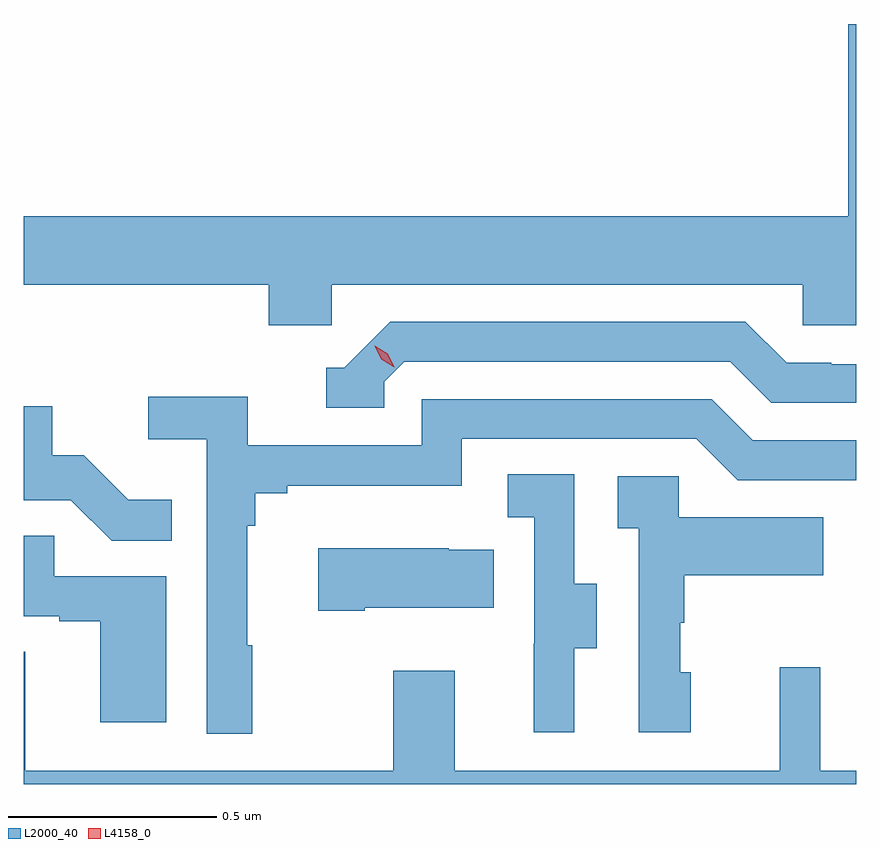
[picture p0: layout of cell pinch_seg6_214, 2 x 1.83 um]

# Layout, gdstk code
import gdstk
lib = gdstk.Library(unit=1e-6, precision=1e-09)
def P(c, l, *ps):  # polygons
    for p in ps: c.add(gdstk.Polygon(p, *l))
L2000_40 = (2000, 40)
L4158_0 = (4158, 0)

pinch_seg6_214 = lib.new_cell('pinch_seg6_214')
P(pinch_seg6_214, L2000_40, [(1026.15,916.7),(1027.281,916.7),(1027.281,916.602),(1027.41,916.602),(1027.41,917.326),(1027.391,917.326),(1027.391,916.864),(1025.41,916.864),(1025.41,916.7),(1025.999,916.7),(1025.999,916.602),(1026.15,916.602)],
  [(1026.276,916.467),(1026.324,916.515),(1027.107,916.515),(1027.206,916.416),(1027.41,916.416),(1027.41,916.509),(1027.35,916.509),(1027.35,916.512),(1027.243,916.512),(1027.144,916.611),(1026.291,916.611),(1026.18,916.5),(1026.137,916.5),(1026.137,916.404),(1026.276,916.404)],
  [(1025.959,915.833),(1025.947,915.833),(1025.947,916.121),(1025.966,916.121),(1025.966,916.198),(1026.043,916.198),(1026.043,916.217),(1026.462,916.217),(1026.462,916.329),(1027.026,916.329),(1027.125,916.23),(1027.41,916.23),(1027.41,916.326),(1027.162,916.326),(1027.063,916.425),(1026.366,916.425),(1026.366,916.314),(1025.948,916.314),(1025.948,916.43),(1025.709,916.43),(1025.709,916.328),(1025.85,916.328),(1025.85,915.621),(1025.959,915.621)],
  [(1025.765,916.183),(1025.661,916.183),(1025.554,916.29),(1025.478,916.29),(1025.478,916.407),(1025.41,916.407),(1025.41,916.182),(1025.523,916.182),(1025.621,916.084),(1025.765,916.084)],
  [(1026.733,915.826),(1026.787,915.826),(1026.787,915.981),(1026.732,915.981),(1026.732,916.244),(1026.573,916.244),(1026.573,916.141),(1026.636,916.141),(1026.636,915.837),(1026.635,915.837),(1026.635,915.624),(1026.733,915.624)],
  [(1027.012,915.768),(1026.987,915.768),(1026.987,915.887),(1026.997,915.887),(1026.997,916.001),(1027.331,916.001),(1027.331,916.141),(1026.984,916.141),(1026.984,916.239),(1026.837,916.239),(1026.837,916.115),(1026.888,916.115),(1026.888,915.624),(1027.012,915.624)],
  [(1025.752,915.999),(1025.483,915.999),(1025.483,916.097),(1025.41,916.097),(1025.41,915.903),(1025.495,915.903),(1025.495,915.891),(1025.594,915.891),(1025.594,915.648),(1025.752,915.648)],
  [(1026.229,915.923),(1026.539,915.923),(1026.539,916.063),(1026.431,916.063),(1026.431,916.066),(1026.117,916.066),(1026.117,915.916),(1026.229,915.916)],
  [(1027.41,915.532),(1027.323,915.532),(1027.323,915.781),(1027.226,915.781),(1027.226,915.532),(1026.445,915.532),(1026.445,915.772),(1026.298,915.772),(1026.298,915.532),(1025.413,915.532),(1025.413,915.818),(1025.41,915.818),(1025.41,915.5),(1027.41,915.5)])
P(pinch_seg6_214, L4158_0, [(1026.3,916.501),(1026.269,916.521),(1026.253,916.553),(1026.253,916.553),(1026.253,916.553),(1026.284,916.534),(1026.3,916.502),(1026.3,916.501)])

lib.write_gds('pinch_seg6_214.gds')
